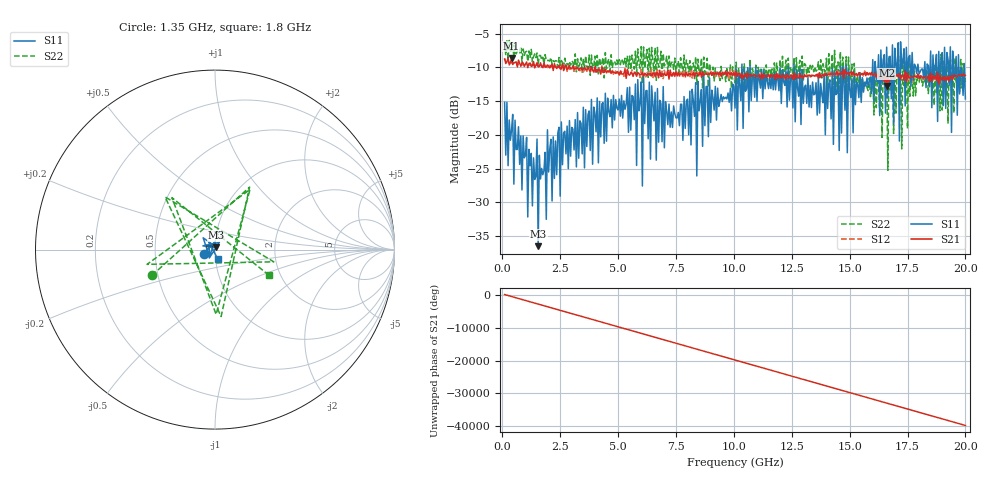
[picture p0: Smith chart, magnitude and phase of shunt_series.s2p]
#  HZ  S  RI  R  1.00
! Rohde & Schwarz ZVA67 4Ports - Version 4.11 - 1305.7002k04 SN: 101032
! Date: 2023-06-01 16:30:42
! Measurements: S11 S21 S12 S22
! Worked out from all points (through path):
!   399 points, 100 MHz to 20 GHz, reference 1 ohm
!   highest |S21| = -8.61 dB at 400 MHz (marker M1); lowest = -12.7 dB at 16.6 GHz (marker M2)
!   lowest |S11| = -36.5 dB at 1.55 GHz (marker M3), VSWR 1.03, Z = 1.02 + j0.0254 ohm
!   |S11| at or under -10 dB: start of sweep to 10.35 GHz; 10.95 GHz to 12.35 GHz (1.398 GHz wide, 12 % of centre); 12.6 GHz to 14.6 GHz (1.997 GHz wide, 14.7 % of centre) (the widest 3 of 41)
!   |S22| runs from -25.3 to -6.0 dB; largest |S21 - S12| = 0.73
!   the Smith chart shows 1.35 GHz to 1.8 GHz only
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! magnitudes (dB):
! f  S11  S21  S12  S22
! 100 MHz  -15.2  -8.8  -8.6  -6.2
! 400 MHz  -19.3  -8.6  -9.4  -7.5
! 1.1 GHz  -32.2  -10.0  -9.7  -9.1
! 1.5 GHz  -20.6  -9.3  -9.7  -7.9
! 1.55 GHz  -36.5  -9.9  -9.7  -9.5
! 1.95 GHz  -19.2  -9.6  -10.0  -9.0
! 3.45 GHz  -22.8  -10.4  -10.0  -10.7
! 6.75 GHz  -21.1  -11.5  -11.2  -10.0
! 10.05 GHz  -16.0  -11.3  -11.8  -12.2
! 13.4 GHz  -12.2  -11.1  -11.1  -9.7
! 14.55 GHz  -22.3  -10.9  -10.6  -14.3
! 14.85 GHz  -9.7  -10.9  -11.5  -8.4
! 14.9 GHz  -22.6  -10.8  -10.6  -16.2
! 16.6 GHz  -7.0  -12.7  -12.4  -9.4
! 16.65 GHz  -14.5  -11.4  -11.6  -25.3
! 16.7 GHz  -8.4  -12.1  -12.1  -8.7
! 17.1 GHz  -6.4  -11.4  -11.5  -10.4
! 17.15 GHz  -20.9  -10.9  -11.1  -15.5
! 17.2 GHz  -6.2  -11.8  -11.4  -8.4
! 17.25 GHz  -10.2  -11.2  -11.4  -22.1
! 17.3 GHz  -9.1  -11.2  -11.3  -8.8
! 20 GHz  -14.7  -11.2  -11.2  -12.2
